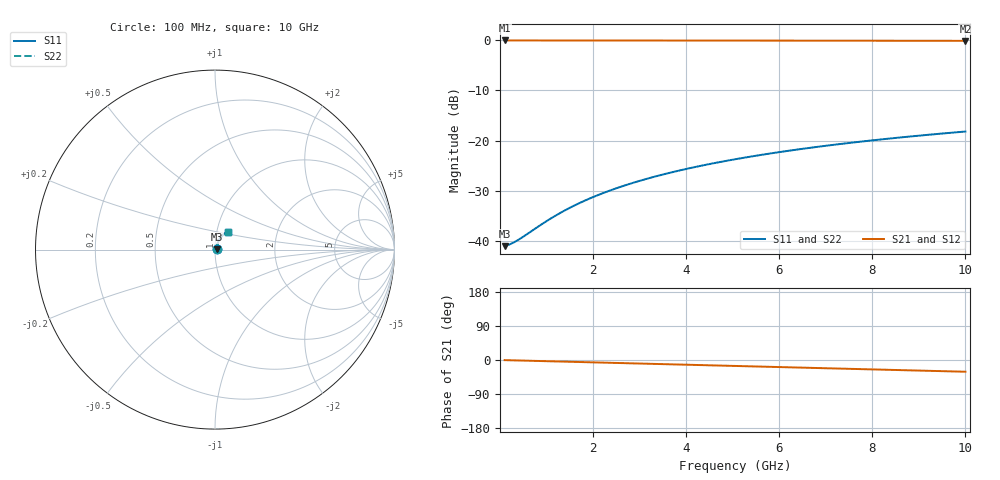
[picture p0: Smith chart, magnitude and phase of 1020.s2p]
# Hz S RI R 50.00
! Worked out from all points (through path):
!   100 points, 100 MHz to 10 GHz, reference 50 ohm
!   highest |S21| = -0.08 dB at 100 MHz (marker M1); lowest = -0.2 dB at 10 GHz (marker M2)
!   group delay of S21, straight-line fit = 8.61 ps
!   lowest |S11| = -41.0 dB at 100 MHz (marker M3), VSWR 1.02, Z = 50.9 + j0.128 ohm
!   |S11| at or under -10 dB: start of sweep to end of sweep
!   |S22| runs from -41.0 to -18.2 dB; largest |S21 - S12| = 0
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1e8  0.00887 0.00125  0.9911 -0.00538  0.9911 -0.00538  0.00887 0.00125
2e8  0.00895 0.0025  0.991 -0.0108  0.991 -0.0108  0.00895 0.0025
3e8  0.00902 0.00375  0.9909 -0.0161  0.9909 -0.0161  0.00902 0.00375
4e8  0.0091 0.005  0.9907 -0.0215  0.9907 -0.0215  0.0091 0.005
1e9  0.00981 0.0125  0.9893 -0.0538  0.9893 -0.0538  0.00981 0.0125
1.3e9  0.0103 0.0162  0.9882 -0.0699  0.9882 -0.0699  0.0103 0.0162
1.5e9  0.0107 0.0187  0.9873 -0.0806  0.9873 -0.0806  0.0107 0.0187
1.8e9  0.0114 0.0223  0.9857 -0.0966  0.9857 -0.0966  0.0114 0.0223
2.1e9  0.0123 0.026  0.9839 -0.1126  0.9839 -0.1126  0.0123 0.026
2.5e9  0.0136 0.0308  0.981 -0.1339  0.981 -0.1339  0.0136 0.0308
2.9e9  0.0151 0.0356  0.9776 -0.1551  0.9776 -0.1551  0.0151 0.0356
3.4e9  0.0172 0.0415  0.9728 -0.1815  0.9728 -0.1815  0.0172 0.0415
3.8e9  0.0192 0.0461  0.9683 -0.2025  0.9683 -0.2025  0.0192 0.0461
4.2e9  0.0213 0.0506  0.9634 -0.2234  0.9634 -0.2234  0.0213 0.0506
4.6e9  0.0236 0.055  0.9581 -0.2441  0.9581 -0.2441  0.0236 0.055
5.1e9  0.0268 0.0603  0.9507 -0.2698  0.9507 -0.2698  0.0268 0.0603
5.9e9  0.0325 0.0685  0.9374 -0.3105  0.9374 -0.3105  0.0325 0.0685
6.7e9  0.0389 0.0761  0.9224 -0.3504  0.9224 -0.3504  0.0389 0.0761
7.5e9  0.0459 0.0831  0.9056 -0.3895  0.9056 -0.3895  0.0459 0.0831
8.4e9  0.0544 0.0903  0.8847 -0.4324  0.8847 -0.4324  0.0544 0.0903
9.2e9  0.0626 0.0959  0.8644 -0.4695  0.8644 -0.4695  0.0626 0.0959
1e10  0.0711 0.1008  0.8425 -0.5056  0.8425 -0.5056  0.0711 0.1008
